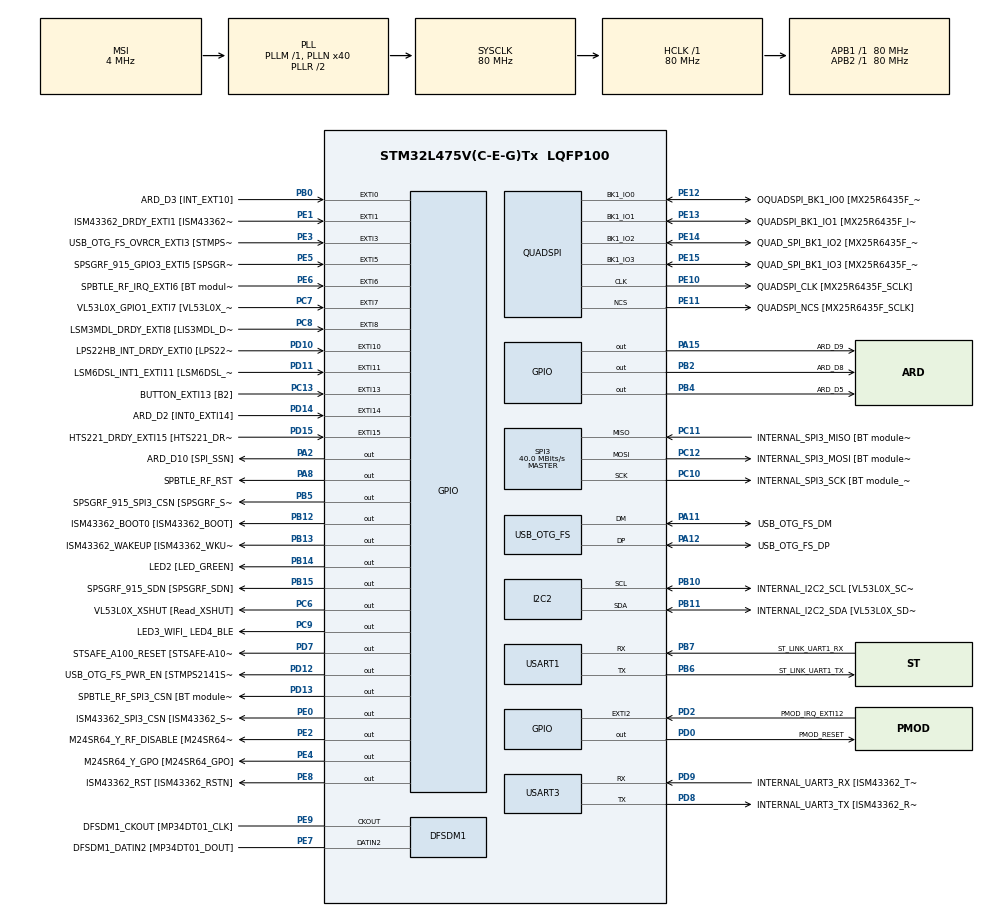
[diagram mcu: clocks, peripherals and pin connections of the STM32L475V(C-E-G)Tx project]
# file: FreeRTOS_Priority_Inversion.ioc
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FREERTOS.Mutexes01=resourceMutex,Dynamic,NULL,Available
FREERTOS.Tasks01=defaultTask,24,128,StartDefaultTask,Default,NULL,Dynamic,NULL,NULL;LowPriorityTask,8,128,StartTask02,Default,NULL,Dynamic,NULL,NULL;MediumPriorityT,24,128,StartTask03,Default,NULL,Dynamic,NULL,NULL;HighPriorityTas,40,128,StartTask04,Default,NULL,Dynamic,NULL,NULL
I2C2.Timing=0x10D19CE4
Mcu.Family=STM32L4
Mcu.Name=STM32L475V(C-E-G)Tx
Mcu.Package=LQFP100
NVIC.EXTI15_10_IRQn=true\:5\:0\:false\:false\:true\:true\:true\:true\:true
NVIC.EXTI9_5_IRQn=true\:5\:0\:false\:false\:true\:true\:true\:true\:true
NVIC.PriorityGroup=NVIC_PRIORITYGROUP_4
PA0.GPIO_Label=ARD_D1 [UART4_TX]
PA0.Signal=UART4_TX
PA1.GPIO_Label=ARD_D0 [UART4_RX]
PA1.Signal=UART4_RX
PA10.GPIO_Label=USB_OTG_FS_ID
PA10.Signal=USB_OTG_FS_ID
PA11.GPIO_Label=USB_OTG_FS_DM
PA11.Mode=Device_Only
PA11.Signal=USB_OTG_FS_DM
PA12.GPIO_Label=USB_OTG_FS_DP
PA12.Mode=Device_Only
PA12.Signal=USB_OTG_FS_DP
PA13\ (JTMS-SWDIO).GPIO_Label=SYS_JTMS_SWDIO
PA13\ (JTMS-SWDIO).Mode=Serial_Wire
PA13\ (JTMS-SWDIO).Signal=SYS_JTMS-SWDIO
PA14\ (JTCK-SWCLK).GPIO_Label=SYS_JTCK_SWCLK
PA14\ (JTCK-SWCLK).Mode=Serial_Wire
PA14\ (JTCK-SWCLK).Signal=SYS_JTCK-SWCLK
PA15\ (JTDI).GPIO_Label=ARD_D9
PA15\ (JTDI).Signal=GPIO_Output
PA2.GPIO_Label=ARD_D10 [SPI_SSN]
PA2.Signal=GPIO_Output
PA3.GPIO_Label=ARD_D4
PA3.Signal=S_TIM2_CH4
PA4.GPIO_Label=ARD_D7
PA4.Signal=ADCx_IN9
PA5.GPIO_Label=ARD_D13 [SPI1_SCK]
PA5.Signal=SPI1_SCK
PA6.GPIO_Label=ARD_D12 [SPI1_MISO]
PA6.Signal=SPI1_MISO
PA7.GPIO_Label=ARD_D11 [SPI1_MOSI]
PA7.Signal=SPI1_MOSI
PA8.GPIO_Label=SPBTLE_RF_RST
PA8.Signal=GPIO_Output
PA9.GPIO_Label=USB_OTG_FS_VBUS [STMPS2141STR_OUT]
PA9.Signal=USB_OTG_FS_VBUS
PB0.GPIO_Label=ARD_D3 [INT_EXT10]
PB0.Signal=GPXTI0
PB1.GPIO_Label=ARD_D6 [ADC1_IN6]
PB1.Signal=ADCx_IN16
PB10.GPIO_Label=INTERNAL_I2C2_SCL [VL53L0X_SCL]
PB10.GPIO_Pu=GPIO_PULLUP
PB10.Mode=I2C
PB10.Signal=I2C2_SCL
PB11.GPIO_Label=INTERNAL_I2C2_SDA [VL53L0X_SDA]
PB11.GPIO_Pu=GPIO_PULLUP
PB11.Mode=I2C
PB11.Signal=I2C2_SDA
PB12.GPIO_Label=ISM43362_BOOT0 [ISM43362_BOOT]
PB12.Signal=GPIO_Output
PB13.GPIO_Label=ISM43362_WAKEUP [ISM43362_WKUP]
PB13.Signal=GPIO_Output
PB14.GPIO_Label=LED2 [LED_GREEN]
PB14.Signal=GPIO_Output
PB15.GPIO_Label=SPSGRF_915_SDN [SPSGRF_SDN]
PB15.Signal=GPIO_Output
PB2.GPIO_Label=ARD_D8
PB2.Signal=GPIO_Output
PB3\ (JTDO-TRACESWO).GPIO_Label=SYS_JTD0_SWO
PB3\ (JTDO-TRACESWO).Signal=SYS_JTDO-SWO
PB4\ (NJTRST).GPIO_Label=ARD_D5
PB4\ (NJTRST).Signal=GPIO_Output
PB5.GPIO_Label=SPSGRF_915_SPI3_CSN [SPSGRF_SPI_CS]
PB5.PinState=GPIO_PIN_SET
PB5.Signal=GPIO_Output
PB6.GPIO_Label=ST_LINK_UART1_TX
PB6.Mode=Asynchronous
PB6.Signal=USART1_TX
PB7.GPIO_Label=ST_LINK_UART1_RX
PB7.Mode=Asynchronous
PB7.Signal=USART1_RX
PB8.GPIO_Label=ARD_D15 [I2C1_SCL]
PB8.Signal=I2C1_SCL
PB9.GPIO_Label=ARD_D14 [I2C1_SDA]
PB9.Signal=I2C1_SDA
PC0.GPIO_Label=ARD_A5 [ADC]
PC0.Signal=ADCx_IN1
PC1.GPIO_Label=ARD_A4 [ADC]
PC1.Signal=ADCx_IN2
PC10.GPIO_Label=INTERNAL_SPI3_SCK [BT module_SPI_SCLK] [ISM43362_SCK]
PC10.Mode=Full_Duplex_Master
PC10.Signal=SPI3_SCK
PC11.GPIO_Label=INTERNAL_SPI3_MISO [BT module_SPI_MISO] [ISM43362_MISO]
PC11.Mode=Full_Duplex_Master
PC11.Signal=SPI3_MISO
PC12.GPIO_Label=INTERNAL_SPI3_MOSI [BT module_SPI_MOSI] [ISM43362_MOSI]
PC12.Mode=Full_Duplex_Master
PC12.Signal=SPI3_MOSI
PC13.GPIO_Label=BUTTON_EXTI13 [B2]
PC13.GPIO_ModeDefaultEXTI=GPIO_MODE_IT_FALLING
PC13.Signal=GPXTI13
PC14-OSC32_IN\ (PC14).Mode=LSE-External-Oscillator
PC14-OSC32_IN\ (PC14).Signal=RCC_OSC32_IN
PC15-OSC32_OUT\ (PC15).Mode=LSE-External-Oscillator
PC15-OSC32_OUT\ (PC15).Signal=RCC_OSC32_OUT
PC2.GPIO_Label=ARD_A3 [ADC]
PC2.Signal=ADCx_IN3
PC3.GPIO_Label=ARD_A2 [ADC]
PC3.Signal=ADCx_IN4
PC4.GPIO_Label=ARD_A1 [ADC]
PC4.Signal=ADCx_IN13
PC5.GPIO_Label=ARD_A0 [ADC]
PC5.Signal=ADCx_IN14
PC6.GPIO_Label=VL53L0X_XSHUT [Read_XSHUT]
PC6.Signal=GPIO_Output
PC7.GPIO_Label=VL53L0X_GPIO1_EXTI7 [VL53L0X_GPIO1]
PC7.Signal=GPXTI7
PC8.GPIO_Label=LSM3MDL_DRDY_EXTI8 [LIS3MDL_DRDY]
PC8.Signal=GPXTI8
PC9.GPIO_Label=LED3_WIFI_ LED4_BLE
PC9.Signal=GPIO_Output
PD0.GPIO_Label=PMOD_RESET
PD0.Signal=GPIO_Output
PD1.GPIO_Label=PMOD_SPI2_SCK
PD1.Signal=SPI2_SCK
PD10.GPIO_Label=LPS22HB_INT_DRDY_EXTI0 [LPS22HB_INT_DRDY] 
PD10.Signal=GPXTI10
PD11.GPIO_Label=LSM6DSL_INT1_EXTI11 [LSM6DSL_INT1]
PD11.Signal=GPXTI11
PD12.GPIO_Label=USB_OTG_FS_PWR_EN [STMPS2141STR_EN]
PD12.Signal=GPIO_Output
PD13.GPIO_Label=SPBTLE_RF_SPI3_CSN [BT module_SPI_CS]
PD13.PinState=GPIO_PIN_SET
PD13.Signal=GPIO_Output
PD14.GPIO_Label=ARD_D2 [INT0_EXTI14]
PD14.Signal=GPXTI14
PD15.GPIO_Label=HTS221_DRDY_EXTI15 [HTS221_DRDY]
PD15.Signal=GPXTI15
PD2.GPIO_Label=PMOD_IRQ_EXTI12
PD2.Signal=GPXTI2
PD3.GPIO_Label=PMOD_UART2_CTS
PD3.Signal=USART2_CTS
PD4.GPIO_Label=PMOD_UART2_RTS
PD4.Signal=USART2_RTS
PD5.GPIO_Label=PMOD_UART2_TX
PD5.Signal=USART2_TX
PD6.GPIO_Label=PMOD_UART2_RX
PD6.Signal=USART2_RX
PD7.GPIO_Label=STSAFE_A100_RESET [STSAFE-A100_RESET]
PD7.Signal=GPIO_Output
PD8.GPIO_Label=INTERNAL_UART3_TX [ISM43362_RX]
PD8.Mode=Asynchronous
PD8.Signal=USART3_TX
PD9.GPIO_Label=INTERNAL_UART3_RX [ISM43362_TX]
PD9.Mode=Asynchronous
PD9.Signal=USART3_RX
PE0.GPIO_Label=ISM43362_SPI3_CSN [ISM43362_SSN]
PE0.PinState=GPIO_PIN_SET
PE0.Signal=GPIO_Output
PE1.GPIO_Label=ISM43362_DRDY_EXTI1 [ISM43362_DATARDY]
PE1.Signal=GPXTI1
PE10.GPIO_Label=QUADSPI_CLK [MX25R6435F_SCLK]
PE10.Mode=Single Bank
PE10.Signal=QUADSPI_CLK
PE11.GPIO_Label=QUADSPI_NCS [MX25R6435F_SCLK]
PE11.Mode=Single Bank
PE11.Signal=QUADSPI_NCS
PE12.GPIO_Label=OQUADSPI_BK1_IO0 [MX25R6435F_IO0]
PE12.Mode=Single Bank
PE12.Signal=QUADSPI_BK1_IO0
PE13.GPIO_Label=QUADSPI_BK1_IO1 [MX25R6435F_IO1]
PE13.Mode=Single Bank
PE13.Signal=QUADSPI_BK1_IO1
PE14.GPIO_Label=QUAD_SPI_BK1_IO2 [MX25R6435F_IO2]
PE14.Mode=Single Bank
PE14.Signal=QUADSPI_BK1_IO2
PE15.GPIO_Label=QUAD_SPI_BK1_IO3 [MX25R6435F_IO3]
PE15.Mode=Single Bank
PE15.Signal=QUADSPI_BK1_IO3
PE2.GPIO_Label=M24SR64_Y_RF_DISABLE [M24SR64_RFDIS]
PE2.Signal=GPIO_Output
PE3.GPIO_Label=USB_OTG_FS_OVRCR_EXTI3 [STMPS2141STR_FAULT]
PE3.Signal=GPXTI3
PE4.GPIO_Label=M24SR64_Y_GPO [M24SR64_GPO]
PE4.Signal=GPIO_Output
PE5.GPIO_Label=SPSGRF_915_GPIO3_EXTI5 [SPSGRF_GPIO_3]
PE5.Signal=GPXTI5
PE6.GPIO_Label=SPBTLE_RF_IRQ_EXTI6 [BT module_SPI_IRQ]
PE6.Signal=GPXTI6
PE7.GPIO_Label=DFSDM1_DATIN2 [MP34DT01_DOUT]
PE7.Signal=S_DATAIN2DFSDM1
PE8.GPIO_Label=ISM43362_RST [ISM43362_RSTN]
PE8.Signal=GPIO_Output
PE9.GPIO_Label=DFSDM1_CKOUT [MP34DT01_CLK]
PE9.Signal=S_CKOUTDFSDM1
ProjectManager.HeapSize=0x200
ProjectManager.StackSize=0x400
ProjectManager.TargetToolchain=STM32CubeIDE
QUADSPI.ClockPrescaler=2
QUADSPI.FifoThreshold=4
QUADSPI.FlashSize=23
QUADSPI.SampleShifting=QSPI_SAMPLE_SHIFTING_HALFCYCLE
RCC.ADCFreq_Value=48000000
RCC.AHBFreq_Value=80000000
RCC.APB1Freq_Value=80000000
RCC.APB1TimFreq_Value=80000000
RCC.APB2Freq_Value=80000000
RCC.APB2TimFreq_Value=80000000
RCC.CortexFreq_Value=80000000
RCC.HCLKFreq_Value=80000000
RCC.HSE_VALUE=8000000
RCC.HSI_VALUE=16000000
RCC.MSI_VALUE=4000000
RCC.PLLN=40
RCC.PLLSAI1N=24
RCC.SYSCLKFreq_VALUE=80000000
RCC.SYSCLKSource=RCC_SYSCLKSOURCE_PLLCLK
RCC.USBFreq_Value=48000000
RCC.VCOOutputFreq_Value=160000000
SH.ADCx_IN1.0=ADC1_IN1
SH.ADCx_IN13.0=ADC1_IN13
SH.ADCx_IN14.0=ADC1_IN14
SH.ADCx_IN16.0=ADC1_IN16
SH.ADCx_IN2.0=ADC1_IN2
SH.ADCx_IN3.0=ADC1_IN3
SH.ADCx_IN4.0=ADC1_IN4
SH.ADCx_IN9.0=ADC1_IN9
SH.S_CKOUTDFSDM1.0=DFSDM1_CKOUT,CKOUT
SH.S_CKOUTDFSDM1.1=DFSDM1_CKOUT,PDM_SPI_Input_from_ch12_and_Internal_Clock
SH.S_DATAIN2DFSDM1.0=DFSDM1_DATIN2,PDM_SPI_Input_from_ch12_and_Internal_Clock
SH.S_TIM2_CH4.0=TIM2_CH4
SPI3.CalculateBaudRate=40.0 MBits/s
SPI3.Direction=SPI_DIRECTION_2LINES
SPI3.Mode=SPI_MODE_MASTER
SPI3.VirtualType=VM_MASTER
USART1.VirtualMode-Asynchronous=VM_ASYNC
USART3.VirtualMode-Asynchronous=VM_ASYNC
USB_OTG_FS.VirtualMode=Device_Only
VP_FREERTOS_VS_CMSIS_V2.Mode=CMSIS_V2
board=B-L475E-IOT01A2

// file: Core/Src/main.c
/* USER CODE BEGIN Header */
/**
  ******************************************************************************
  * @file           : main.c
  * @brief          : Main program body
  ******************************************************************************
  * @attention
  *
  * Copyright (c) 2026 STMicroelectronics.
  * All rights reserved.
  *
  * This software is licensed under terms that can be found in the LICENSE file
  * in the root directory of this software component.
  * If no LICENSE file comes with this software, it is provided AS-IS.
  *
  ******************************************************************************
  */
/* USER CODE END Header */
#include "main.h"
#include "cmsis_os.h"

/* USER CODE BEGIN PD */

/* 0 = run Mutex experiment, 1 = run Binary Semaphore experiment */
#define RUN_SEMAPHORE_EXPERIMENT 1

/* USER CODE END PD */

DFSDM_Channel_HandleTypeDef hdfsdm1_channel1;

I2C_HandleTypeDef hi2c2;

QSPI_HandleTypeDef hqspi;

SPI_HandleTypeDef hspi3;

UART_HandleTypeDef huart1;
UART_HandleTypeDef huart3;

PCD_HandleTypeDef hpcd_USB_OTG_FS;

/* Definitions for defaultTask */
osThreadId_t defaultTaskHandle;
const osThreadAttr_t defaultTask_attributes = {
  .name = "defaultTask",
  .stack_size = 128 * 4,
  .priority = (osPriority_t) osPriorityNormal,
};
/* Definitions for LowPriorityTask */
osThreadId_t LowPriorityTaskHandle;
const osThreadAttr_t LowPriorityTask_attributes = {
  .name = "LowPriorityTask",
  .stack_size = 128 * 4,
  .priority = (osPriority_t) osPriorityLow,
};
/* Definitions for MediumPriorityT */
osThreadId_t MediumPriorityTHandle;
const osThreadAttr_t MediumPriorityT_attributes = {
  .name = "MediumPriorityT",
  .stack_size = 128 * 4,
  .priority = (osPriority_t) osPriorityNormal,
};
/* Definitions for HighPriorityTas */
osThreadId_t HighPriorityTasHandle;
const osThreadAttr_t HighPriorityTas_attributes = {
  .name = "HighPriorityTas",
  .stack_size = 128 * 4,
  .priority = (osPriority_t) osPriorityHigh,
};
/* Definitions for resourceMutex */
osMutexId_t resourceMutexHandle;
const osMutexAttr_t resourceMutex_attributes = {
  .name = "resourceMutex"
};
/* Definitions for the separate Binary Semaphore experiment */
osSemaphoreId_t resourceSemaphoreHandle;
const osSemaphoreAttr_t resourceSemaphore_attributes = {
  .name = "resourceSemaphore"
};

/* Semaphore experiment task handles and attributes */
osThreadId_t SemaphoreLowTaskHandle;
const osThreadAttr_t SemaphoreLowTask_attributes = {
  .name = "SemLowTask",
  .stack_size = 128 * 4,
  .priority = (osPriority_t) osPriorityLow,
};
osThreadId_t SemaphoreMediumTaskHandle;
const osThreadAttr_t SemaphoreMediumTask_attributes = {
  .name = "SemMediumTask",
  .stack_size = 128 * 4,
  .priority = (osPriority_t) osPriorityNormal,
};
osThreadId_t SemaphoreHighTaskHandle;
const osThreadAttr_t SemaphoreHighTask_attributes = {
  .name = "SemHighTask",
  .stack_size = 128 * 4,
  .priority = (osPriority_t) osPriorityHigh,
};
/* USER CODE BEGIN PV */

volatile uint32_t lowWorkCounter = 0;
volatile uint32_t mediumWorkCounter = 0;
volatile uint32_t highWaitTime = 0;
volatile uint32_t highAcquiredCount = 0;
volatile uint32_t lowHasMutex = 0;

/* Variables for the Binary Semaphore experiment */
volatile uint32_t semaphoreLowWorkCounter = 0;
volatile uint32_t semaphoreMediumWorkCounter = 0;
volatile uint32_t semaphoreHighWaitTime = 0;
volatile uint32_t semaphoreHighAcquiredCount = 0;
volatile uint32_t semaphoreLowHasSemaphore = 0;

/* USER CODE END PV */

void SystemClock_Config(void);
static void MX_GPIO_Init(void);
static void MX_DFSDM1_Init(void);
static void MX_I2C2_Init(void);
static void MX_QUADSPI_Init(void);
static void MX_SPI3_Init(void);
static void MX_USART1_UART_Init(void);
static void MX_USART3_UART_Init(void);
static void MX_USB_OTG_FS_PCD_Init(void);
void StartDefaultTask(void *argument);
void StartTask02(void *argument);
void StartTask03(void *argument);
void StartTask04(void *argument);
void StartSemaphoreLowTask(void *argument);
void StartSemaphoreMediumTask(void *argument);
void StartSemaphoreHighTask(void *argument);

int main(void)
{

  /* MCU Configuration--------------------------------------------------------*/

  /* Reset of all peripherals, Initializes the Flash interface and the Systick. */
  HAL_Init();

  /* Configure the system clock */
  SystemClock_Config();

  /* Initialize all configured peripherals */
  MX_GPIO_Init();
  MX_DFSDM1_Init();
  MX_I2C2_Init();
  MX_QUADSPI_Init();
  MX_SPI3_Init();
  MX_USART1_UART_Init();
  MX_USART3_UART_Init();
  MX_USB_OTG_FS_PCD_Init();

  /* Init scheduler */
  osKernelInitialize();
  /* Create the mutex(es) */
  /* creation of resourceMutex */
  resourceMutexHandle = osMutexNew(&resourceMutex_attributes);

  /* USER CODE BEGIN RTOS_SEMAPHORES */
  /* Binary semaphore for the separate priority-inversion experiment */
  resourceSemaphoreHandle = osSemaphoreNew(1, 1, &resourceSemaphore_attributes);
  /* USER CODE END RTOS_SEMAPHORES */

  /* Create the thread(s) */
  /* creation of defaultTask */
  defaultTaskHandle = osThreadNew(StartDefaultTask, NULL, &defaultTask_attributes);

#if RUN_SEMAPHORE_EXPERIMENT == 0
  /* Mutex experiment */
  LowPriorityTaskHandle = osThreadNew(StartTask02, NULL, &LowPriorityTask_attributes);
  MediumPriorityTHandle = osThreadNew(StartTask03, NULL, &MediumPriorityT_attributes);
  HighPriorityTasHandle = osThreadNew(StartTask04, NULL, &HighPriorityTas_attributes);
#else
  /* Binary Semaphore experiment */
  SemaphoreLowTaskHandle = osThreadNew(StartSemaphoreLowTask, NULL, &SemaphoreLowTask_attributes);
  SemaphoreMediumTaskHandle = osThreadNew(StartSemaphoreMediumTask, NULL, &SemaphoreMediumTask_attributes);
  SemaphoreHighTaskHandle = osThreadNew(StartSemaphoreHighTask, NULL, &SemaphoreHighTask_attributes);
#endif

  /* Start scheduler */
  osKernelStart();

  /* We should never get here as control is now taken by the scheduler */

  /* Infinite loop */
  while (1)
  {

  }
}

void SystemClock_Config(void)
{
  RCC_OscInitTypeDef RCC_OscInitStruct = {0};
  RCC_ClkInitTypeDef RCC_ClkInitStruct = {0};

  /** Configure the main internal regulator output voltage
  */
  if (HAL_PWREx_ControlVoltageScaling(PWR_REGULATOR_VOLTAGE_SCALE1) != HAL_OK)
  {
    Error_Handler();
  }

  /** Configure LSE Drive Capability
  */
  HAL_PWR_EnableBkUpAccess();
  __HAL_RCC_LSEDRIVE_CONFIG(RCC_LSEDRIVE_LOW);

  /** Initializes the RCC Oscillators according to the specified parameters
  * in the RCC_OscInitTypeDef structure.
  */
  RCC_OscInitStruct.OscillatorType = RCC_OSCILLATORTYPE_LSE|RCC_OSCILLATORTYPE_MSI;
  RCC_OscInitStruct.LSEState = RCC_LSE_ON;
  RCC_OscInitStruct.MSIState = RCC_MSI_ON;
  RCC_OscInitStruct.MSICalibrationValue = 0;
  RCC_OscInitStruct.MSIClockRange = RCC_MSIRANGE_6;
  RCC_OscInitStruct.PLL.PLLState = RCC_PLL_ON;
  RCC_OscInitStruct.PLL.PLLSource = RCC_PLLSOURCE_MSI;
  RCC_OscInitStruct.PLL.PLLM = 1;
  RCC_OscInitStruct.PLL.PLLN = 40;
  RCC_OscInitStruct.PLL.PLLP = RCC_PLLP_DIV7;
  RCC_OscInitStruct.PLL.PLLQ = RCC_PLLQ_DIV2;
  RCC_OscInitStruct.PLL.PLLR = RCC_PLLR_DIV2;
  if (HAL_RCC_OscConfig(&RCC_OscInitStruct) != HAL_OK)
  {
    Error_Handler();
  }

  /** Initializes the CPU, AHB and APB buses clocks
  */
  RCC_ClkInitStruct.ClockType = RCC_CLOCKTYPE_HCLK|RCC_CLOCKTYPE_SYSCLK
                              |RCC_CLOCKTYPE_PCLK1|RCC_CLOCKTYPE_PCLK2;
  RCC_ClkInitStruct.SYSCLKSource = RCC_SYSCLKSOURCE_PLLCLK;
  RCC_ClkInitStruct.AHBCLKDivider = RCC_SYSCLK_DIV1;
  RCC_ClkInitStruct.APB1CLKDivider = RCC_HCLK_DIV1;
  RCC_ClkInitStruct.APB2CLKDivider = RCC_HCLK_DIV1;

  if (HAL_RCC_ClockConfig(&RCC_ClkInitStruct, FLASH_LATENCY_4) != HAL_OK)
  {
    Error_Handler();
  }

  /** Enable MSI Auto calibration
  */
  HAL_RCCEx_EnableMSIPLLMode();
}

static void MX_DFSDM1_Init(void)
{

  hdfsdm1_channel1.Instance = DFSDM1_Channel1;
  hdfsdm1_channel1.Init.OutputClock.Activation = ENABLE;
  hdfsdm1_channel1.Init.OutputClock.Selection = DFSDM_CHANNEL_OUTPUT_CLOCK_SYSTEM;
  hdfsdm1_channel1.Init.OutputClock.Divider = 2;
  hdfsdm1_channel1.Init.Input.Multiplexer = DFSDM_CHANNEL_EXTERNAL_INPUTS;
  hdfsdm1_channel1.Init.Input.DataPacking = DFSDM_CHANNEL_STANDARD_MODE;
  hdfsdm1_channel1.Init.Input.Pins = DFSDM_CHANNEL_FOLLOWING_CHANNEL_PINS;
  hdfsdm1_channel1.Init.SerialInterface.Type = DFSDM_CHANNEL_SPI_RISING;
  hdfsdm1_channel1.Init.SerialInterface.SpiClock = DFSDM_CHANNEL_SPI_CLOCK_INTERNAL;
  hdfsdm1_channel1.Init.Awd.FilterOrder = DFSDM_CHANNEL_FASTSINC_ORDER;
  hdfsdm1_channel1.Init.Awd.Oversampling = 1;
  hdfsdm1_channel1.Init.Offset = 0;
  hdfsdm1_channel1.Init.RightBitShift = 0x00;
  if (HAL_DFSDM_ChannelInit(&hdfsdm1_channel1) != HAL_OK)
  {
    Error_Handler();
  }

}

static void MX_I2C2_Init(void)
{

  hi2c2.Instance = I2C2;
  hi2c2.Init.Timing = 0x10D19CE4;
  hi2c2.Init.OwnAddress1 = 0;
  hi2c2.Init.AddressingMode = I2C_ADDRESSINGMODE_7BIT;
  hi2c2.Init.DualAddressMode = I2C_DUALADDRESS_DISABLE;
  hi2c2.Init.OwnAddress2 = 0;
  hi2c2.Init.OwnAddress2Masks = I2C_OA2_NOMASK;
  hi2c2.Init.GeneralCallMode = I2C_GENERALCALL_DISABLE;
  hi2c2.Init.NoStretchMode = I2C_NOSTRETCH_DISABLE;
  if (HAL_I2C_Init(&hi2c2) != HAL_OK)
  {
    Error_Handler();
  }

  /** Configure Analogue filter
  */
  if (HAL_I2CEx_ConfigAnalogFilter(&hi2c2, I2C_ANALOGFILTER_ENABLE) != HAL_OK)
  {
    Error_Handler();
  }

  /** Configure Digital filter
  */
  if (HAL_I2CEx_ConfigDigitalFilter(&hi2c2, 0) != HAL_OK)
  {
    Error_Handler();
  }

}

static void MX_QUADSPI_Init(void)
{

  /* QUADSPI parameter configuration*/
  hqspi.Instance = QUADSPI;
  hqspi.Init.ClockPrescaler = 2;
  hqspi.Init.FifoThreshold = 4;
  hqspi.Init.SampleShifting = QSPI_SAMPLE_SHIFTING_HALFCYCLE;
  hqspi.Init.FlashSize = 23;
  hqspi.Init.ChipSelectHighTime = QSPI_CS_HIGH_TIME_1_CYCLE;
  hqspi.Init.ClockMode = QSPI_CLOCK_MODE_0;
  if (HAL_QSPI_Init(&hqspi) != HAL_OK)
  {
    Error_Handler();
  }

}

static void MX_SPI3_Init(void)
{

  /* SPI3 parameter configuration*/
  hspi3.Instance = SPI3;
  hspi3.Init.Mode = SPI_MODE_MASTER;
  hspi3.Init.Direction = SPI_DIRECTION_2LINES;
  hspi3.Init.DataSize = SPI_DATASIZE_4BIT;
  hspi3.Init.CLKPolarity = SPI_POLARITY_LOW;
  hspi3.Init.CLKPhase = SPI_PHASE_1EDGE;
  hspi3.Init.NSS = SPI_NSS_SOFT;
  hspi3.Init.BaudRatePrescaler = SPI_BAUDRATEPRESCALER_2;
  hspi3.Init.FirstBit = SPI_FIRSTBIT_MSB;
  hspi3.Init.TIMode = SPI_TIMODE_DISABLE;
  hspi3.Init.CRCCalculation = SPI_CRCCALCULATION_DISABLE;
  hspi3.Init.CRCPolynomial = 7;
  hspi3.Init.CRCLength = SPI_CRC_LENGTH_DATASIZE;
  hspi3.Init.NSSPMode = SPI_NSS_PULSE_ENABLE;
  if (HAL_SPI_Init(&hspi3) != HAL_OK)
  {
    Error_Handler();
  }

}

static void MX_USART1_UART_Init(void)
{

  huart1.Instance = USART1;
  huart1.Init.BaudRate = 115200;
  huart1.Init.WordLength = UART_WORDLENGTH_8B;
  huart1.Init.StopBits = UART_STOPBITS_1;
  huart1.Init.Parity = UART_PARITY_NONE;
  huart1.Init.Mode = UART_MODE_TX_RX;
  huart1.Init.HwFlowCtl = UART_HWCONTROL_NONE;
  huart1.Init.OverSampling = UART_OVERSAMPLING_16;
  huart1.Init.OneBitSampling = UART_ONE_BIT_SAMPLE_DISABLE;
  huart1.AdvancedInit.AdvFeatureInit = UART_ADVFEATURE_NO_INIT;
  if (HAL_UART_Init(&huart1) != HAL_OK)
  {
    Error_Handler();
  }

}

static void MX_USART3_UART_Init(void)
{

  huart3.Instance = USART3;
  huart3.Init.BaudRate = 115200;
  huart3.Init.WordLength = UART_WORDLENGTH_8B;
  huart3.Init.StopBits = UART_STOPBITS_1;
  huart3.Init.Parity = UART_PARITY_NONE;
  huart3.Init.Mode = UART_MODE_TX_RX;
  huart3.Init.HwFlowCtl = UART_HWCONTROL_NONE;
  huart3.Init.OverSampling = UART_OVERSAMPLING_16;
  huart3.Init.OneBitSampling = UART_ONE_BIT_SAMPLE_DISABLE;
  huart3.AdvancedInit.AdvFeatureInit = UART_ADVFEATURE_NO_INIT;
  if (HAL_UART_Init(&huart3) != HAL_OK)
  {
    Error_Handler();
  }

}

static void MX_USB_OTG_FS_PCD_Init(void)
{

  hpcd_USB_OTG_FS.Instance = USB_OTG_FS;
  hpcd_USB_OTG_FS.Init.dev_endpoints = 6;
  hpcd_USB_OTG_FS.Init.speed = PCD_SPEED_FULL;
  hpcd_USB_OTG_FS.Init.phy_itface = PCD_PHY_EMBEDDED;
  hpcd_USB_OTG_FS.Init.Sof_enable = DISABLE;
  hpcd_USB_OTG_FS.Init.low_power_enable = DISABLE;
  hpcd_USB_OTG_FS.Init.lpm_enable = DISABLE;
  hpcd_USB_OTG_FS.Init.battery_charging_enable = DISABLE;
  hpcd_USB_OTG_FS.Init.use_dedicated_ep1 = DISABLE;
  hpcd_USB_OTG_FS.Init.vbus_sensing_enable = DISABLE;
  if (HAL_PCD_Init(&hpcd_USB_OTG_FS) != HAL_OK)
  {
    Error_Handler();
  }

}

static void MX_GPIO_Init(void)
{
  GPIO_InitTypeDef GPIO_InitStruct = {0};

  /* GPIO Ports Clock Enable */
  __HAL_RCC_GPIOE_CLK_ENABLE();
  __HAL_RCC_GPIOC_CLK_ENABLE();
  __HAL_RCC_GPIOA_CLK_ENABLE();
  __HAL_RCC_GPIOB_CLK_ENABLE();
  __HAL_RCC_GPIOD_CLK_ENABLE();

  /*Configure GPIO pin Output Level */
  HAL_GPIO_WritePin(GPIOE, M24SR64_Y_RF_DISABLE_Pin|M24SR64_Y_GPO_Pin|ISM43362_RST_Pin, GPIO_PIN_RESET);

  /*Configure GPIO pin Output Level */
  HAL_GPIO_WritePin(GPIOA, ARD_D10_Pin|SPBTLE_RF_RST_Pin|ARD_D9_Pin, GPIO_PIN_RESET);

  /*Configure GPIO pin Output Level */
  HAL_GPIO_WritePin(GPIOB, ARD_D8_Pin|ISM43362_BOOT0_Pin|ISM43362_WAKEUP_Pin|LED2_Pin
                          |SPSGRF_915_SDN_Pin|ARD_D5_Pin, GPIO_PIN_RESET);

  /*Configure GPIO pin Output Level */
  HAL_GPIO_WritePin(GPIOD, USB_OTG_FS_PWR_EN_Pin|PMOD_RESET_Pin|STSAFE_A100_RESET_Pin, GPIO_PIN_RESET);

  /*Configure GPIO pin Output Level */
  HAL_GPIO_WritePin(SPBTLE_RF_SPI3_CSN_GPIO_Port, SPBTLE_RF_SPI3_CSN_Pin, GPIO_PIN_SET);

  /*Configure GPIO pin Output Level */
  HAL_GPIO_WritePin(GPIOC, VL53L0X_XSHUT_Pin|LED3_WIFI__LED4_BLE_Pin, GPIO_PIN_RESET);

  /*Configure GPIO pin Output Level */
  HAL_GPIO_WritePin(SPSGRF_915_SPI3_CSN_GPIO_Port, SPSGRF_915_SPI3_CSN_Pin, GPIO_PIN_SET);

  /*Configure GPIO pin Output Level */
  HAL_GPIO_WritePin(ISM43362_SPI3_CSN_GPIO_Port, ISM43362_SPI3_CSN_Pin, GPIO_PIN_SET);

  /*Configure GPIO pins : M24SR64_Y_RF_DISABLE_Pin M24SR64_Y_GPO_Pin ISM43362_RST_Pin ISM43362_SPI3_CSN_Pin */
  GPIO_InitStruct.Pin = M24SR64_Y_RF_DISABLE_Pin|M24SR64_Y_GPO_Pin|ISM43362_RST_Pin|ISM43362_SPI3_CSN_Pin;
  GPIO_InitStruct.Mode = GPIO_MODE_OUTPUT_PP;
  GPIO_InitStruct.Pull = GPIO_NOPULL;
  GPIO_InitStruct.Speed = GPIO_SPEED_FREQ_LOW;
  HAL_GPIO_Init(GPIOE, &GPIO_InitStruct);

  /*Configure GPIO pins : USB_OTG_FS_OVRCR_EXTI3_Pin SPSGRF_915_GPIO3_EXTI5_Pin SPBTLE_RF_IRQ_EXTI6_Pin ISM43362_DRDY_EXTI1_Pin */
  GPIO_InitStruct.Pin = USB_OTG_FS_OVRCR_EXTI3_Pin|SPSGRF_915_GPIO3_EXTI5_Pin|SPBTLE_RF_IRQ_EXTI6_Pin|ISM43362_DRDY_EXTI1_Pin;
  GPIO_InitStruct.Mode = GPIO_MODE_IT_RISING;
  GPIO_InitStruct.Pull = GPIO_NOPULL;
  HAL_GPIO_Init(GPIOE, &GPIO_InitStruct);

  /*Configure GPIO pin : BUTTON_EXTI13_Pin */
  GPIO_InitStruct.Pin = BUTTON_EXTI13_Pin;
  GPIO_InitStruct.Mode = GPIO_MODE_IT_FALLING;
  GPIO_InitStruct.Pull = GPIO_NOPULL;
  HAL_GPIO_Init(BUTTON_EXTI13_GPIO_Port, &GPIO_InitStruct);

  /*Configure GPIO pins : ARD_A5_Pin ARD_A4_Pin ARD_A3_Pin ARD_A2_Pin
                           ARD_A1_Pin ARD_A0_Pin */
  GPIO_InitStruct.Pin = ARD_A5_Pin|ARD_A4_Pin|ARD_A3_Pin|ARD_A2_Pin
                          |ARD_A1_Pin|ARD_A0_Pin;
  GPIO_InitStruct.Mode = GPIO_MODE_ANALOG_ADC_CONTROL;
  GPIO_InitStruct.Pull = GPIO_NOPULL;
  HAL_GPIO_Init(GPIOC, &GPIO_InitStruct);

  /*Configure GPIO pins : ARD_D1_Pin ARD_D0_Pin */
  GPIO_InitStruct.Pin = ARD_D1_Pin|ARD_D0_Pin;
  GPIO_InitStruct.Mode = GPIO_MODE_AF_PP;
  GPIO_InitStruct.Pull = GPIO_NOPULL;
  GPIO_InitStruct.Speed = GPIO_SPEED_FREQ_VERY_HIGH;
  GPIO_InitStruct.Alternate = GPIO_AF8_UART4;
  HAL_GPIO_Init(GPIOA, &GPIO_InitStruct);

  /*Configure GPIO pins : ARD_D10_Pin SPBTLE_RF_RST_Pin ARD_D9_Pin */
  GPIO_InitStruct.Pin = ARD_D10_Pin|SPBTLE_RF_RST_Pin|ARD_D9_Pin;
  GPIO_InitStruct.Mode = GPIO_MODE_OUTPUT_PP;
  GPIO_InitStruct.Pull = GPIO_NOPULL;
  GPIO_InitStruct.Speed = GPIO_SPEED_FREQ_LOW;
  HAL_GPIO_Init(GPIOA, &GPIO_InitStruct);

  /*Configure GPIO pin : ARD_D4_Pin */
  GPIO_InitStruct.Pin = ARD_D4_Pin;
  GPIO_InitStruct.Mode = GPIO_MODE_AF_PP;
  GPIO_InitStruct.Pull = GPIO_NOPULL;
  GPIO_InitStruct.Speed = GPIO_SPEED_FREQ_LOW;
  GPIO_InitStruct.Alternate = GPIO_AF1_TIM2;
  HAL_GPIO_Init(ARD_D4_GPIO_Port, &GPIO_InitStruct);

  /*Configure GPIO pin : ARD_D7_Pin */
  GPIO_InitStruct.Pin = ARD_D7_Pin;
  GPIO_InitStruct.Mode = GPIO_MODE_ANALOG_ADC_CONTROL;
  GPIO_InitStruct.Pull = GPIO_NOPULL;
  HAL_GPIO_Init(ARD_D7_GPIO_Port, &GPIO_InitStruct);

  /*Configure GPIO pins : ARD_D13_Pin ARD_D12_Pin ARD_D11_Pin */
  GPIO_InitStruct.Pin = ARD_D13_Pin|ARD_D12_Pin|ARD_D11_Pin;
  GPIO_InitStruct.Mode = GPIO_MODE_AF_PP;
  GPIO_InitStruct.Pull = GPIO_NOPULL;
  GPIO_InitStruct.Speed = GPIO_SPEED_FREQ_VERY_HIGH;
  GPIO_InitStruct.Alternate = GPIO_AF5_SPI1;
  HAL_GPIO_Init(GPIOA, &GPIO_InitStruct);

  /*Configure GPIO pin : ARD_D3_Pin */
  GPIO_InitStruct.Pin = ARD_D3_Pin;
  GPIO_InitStruct.Mode = GPIO_MODE_IT_RISING;
  GPIO_InitStruct.Pull = GPIO_NOPULL;
  HAL_GPIO_Init(ARD_D3_GPIO_Port, &GPIO_InitStruct);

  /*Configure GPIO pin : ARD_D6_Pin */
  GPIO_InitStruct.Pin = ARD_D6_Pin;
  GPIO_InitStruct.Mode = GPIO_MODE_ANALOG_ADC_CONTROL;
  GPIO_InitStruct.Pull = GPIO_NOPULL;
  HAL_GPIO_Init(ARD_D6_GPIO_Port, &GPIO_InitStruct);

  /*Configure GPIO pins : ARD_D8_Pin ISM43362_BOOT0_Pin ISM43362_WAKEUP_Pin LED2_Pin
                           SPSGRF_915_SDN_Pin ARD_D5_Pin SPSGRF_915_SPI3_CSN_Pin */
  GPIO_InitStruct.Pin = ARD_D8_Pin|ISM43362_BOOT0_Pin|ISM43362_WAKEUP_Pin|LED2_Pin
                          |SPSGRF_915_SDN_Pin|ARD_D5_Pin|SPSGRF_915_SPI3_CSN_Pin;
  GPIO_InitStruct.Mode = GPIO_MODE_OUTPUT_PP;
  GPIO_InitStruct.Pull = GPIO_NOPULL;
  GPIO_InitStruct.Speed = GPIO_SPEED_FREQ_LOW;
  HAL_GPIO_Init(GPIOB, &GPIO_InitStruct);

  /*Configure GPIO pins : LPS22HB_INT_DRDY_EXTI0_Pin LSM6DSL_INT1_EXTI11_Pin ARD_D2_Pin HTS221_DRDY_EXTI15_Pin
                           PMOD_IRQ_EXTI12_Pin */
  GPIO_InitStruct.Pin = LPS22HB_INT_DRDY_EXTI0_Pin|LSM6DSL_INT1_EXTI11_Pin|ARD_D2_Pin|HTS221_DRDY_EXTI15_Pin
                          |PMOD_IRQ_EXTI12_Pin;
  GPIO_InitStruct.Mode = GPIO_MODE_IT_RISING;
  GPIO_InitStruct.Pull = GPIO_NOPULL;
  HAL_GPIO_Init(GPIOD, &GPIO_InitStruct);

  /*Configure GPIO pins : USB_OTG_FS_PWR_EN_Pin SPBTLE_RF_SPI3_CSN_Pin PMOD_RESET_Pin STSAFE_A100_RESET_Pin */
  GPIO_InitStruct.Pin = USB_OTG_FS_PWR_EN_Pin|SPBTLE_RF_SPI3_CSN_Pin|PMOD_RESET_Pin|STSAFE_A100_RESET_Pin;
  GPIO_InitStruct.Mode = GPIO_MODE_OUTPUT_PP;
  GPIO_InitStruct.Pull = GPIO_NOPULL;
  GPIO_InitStruct.Speed = GPIO_SPEED_FREQ_LOW;
  HAL_GPIO_Init(GPIOD, &GPIO_InitStruct);

  /*Configure GPIO pins : VL53L0X_XSHUT_Pin LED3_WIFI__LED4_BLE_Pin */
  GPIO_InitStruct.Pin = VL53L0X_XSHUT_Pin|LED3_WIFI__LED4_BLE_Pin;
  GPIO_InitStruct.Mode = GPIO_MODE_OUTPUT_PP;
  GPIO_InitStruct.Pull = GPIO_NOPULL;
  GPIO_InitStruct.Speed = GPIO_SPEED_FREQ_LOW;
  HAL_GPIO_Init(GPIOC, &GPIO_InitStruct);

  /*Configure GPIO pins : VL53L0X_GPIO1_EXTI7_Pin LSM3MDL_DRDY_EXTI8_Pin */
  GPIO_InitStruct.Pin = VL53L0X_GPIO1_EXTI7_Pin|LSM3MDL_DRDY_EXTI8_Pin;
  GPIO_InitStruct.Mode = GPIO_MODE_IT_RISING;
  GPIO_InitStruct.Pull = GPIO_NOPULL;
  HAL_GPIO_Init(GPIOC, &GPIO_InitStruct);

  /*Configure GPIO pin : PMOD_SPI2_SCK_Pin */
  GPIO_InitStruct.Pin = PMOD_SPI2_SCK_Pin;
  GPIO_InitStruct.Mode = GPIO_MODE_AF_PP;
  GPIO_InitStruct.Pull = GPIO_NOPULL;
  GPIO_InitStruct.Speed = GPIO_SPEED_FREQ_VERY_HIGH;
  GPIO_InitStruct.Alternate = GPIO_AF5_SPI2;
  HAL_GPIO_Init(PMOD_SPI2_SCK_GPIO_Port, &GPIO_InitStruct);

  /*Configure GPIO pins : PMOD_UART2_CTS_Pin PMOD_UART2_RTS_Pin PMOD_UART2_TX_Pin PMOD_UART2_RX_Pin */
  GPIO_InitStruct.Pin = PMOD_UART2_CTS_Pin|PMOD_UART2_RTS_Pin|PMOD_UART2_TX_Pin|PMOD_UART2_RX_Pin;
  GPIO_InitStruct.Mode = GPIO_MODE_AF_PP;
  GPIO_InitStruct.Pull = GPIO_NOPULL;
  GPIO_InitStruct.Speed = GPIO_SPEED_FREQ_VERY_HIGH;
  GPIO_InitStruct.Alternate = GPIO_AF7_USART2;
  HAL_GPIO_Init(GPIOD, &GPIO_InitStruct);

  /*Configure GPIO pins : ARD_D15_Pin ARD_D14_Pin */
  GPIO_InitStruct.Pin = ARD_D15_Pin|ARD_D14_Pin;
  GPIO_InitStruct.Mode = GPIO_MODE_AF_OD;
  GPIO_InitStruct.Pull = GPIO_NOPULL;
  GPIO_InitStruct.Speed = GPIO_SPEED_FREQ_VERY_HIGH;
  GPIO_InitStruct.Alternate = GPIO_AF4_I2C1;
  HAL_GPIO_Init(GPIOB, &GPIO_InitStruct);

  /* EXTI interrupt init*/
  HAL_NVIC_SetPriority(EXTI9_5_IRQn, 5, 0);
  HAL_NVIC_EnableIRQ(EXTI9_5_IRQn);

  HAL_NVIC_SetPriority(EXTI15_10_IRQn, 5, 0);
  HAL_NVIC_EnableIRQ(EXTI15_10_IRQn);

}

void StartDefaultTask(void *argument)
{
  for(;;)
  {
    osDelay(1);
  }
}

void StartTask02(void *argument)
{
  /* USER CODE BEGIN StartTask02 */
  /* Infinite loop */

	osDelay(10);

	osMutexAcquire(resourceMutexHandle, osWaitForever);

	lowHasMutex = 1;

	uint32_t lowStartTime = HAL_GetTick();

	while ((HAL_GetTick() - lowStartTime) < 1000U)
	{
	  lowWorkCounter++;
	}

	lowHasMutex = 0;

	osMutexRelease(resourceMutexHandle);

	for(;;)
	{
	  osDelay(1000);
	}
  /* USER CODE END StartTask02 */
}

void StartTask03(void *argument)
{
	/* USER CODE BEGIN StartTask03 */

	osDelay(100);

	uint32_t mediumStartTime = HAL_GetTick();

	while ((HAL_GetTick() - mediumStartTime) < 2000U)
	{
	  mediumWorkCounter++;
	}

	for(;;)
	{
	  osDelay(1000);
	}

	/* USER CODE END StartTask03 */
}

void StartTask04(void *argument)
{
	/* USER CODE BEGIN StartTask04 */

	osDelay(50);

	uint32_t highStartTime = HAL_GetTick();

	osMutexAcquire(resourceMutexHandle, osWaitForever);

	highWaitTime = HAL_GetTick() - highStartTime;

	highAcquiredCount++;

	osMutexRelease(resourceMutexHandle);

	for(;;)
	{
	  osDelay(1000);
	}

  /* USER CODE END StartTask04 */
}

/* USER CODE BEGIN Header_StartSemaphoreLowTask */
/**
* @brief Function implementing the semaphore Low task.
* @param argument: Not used
* @retval None
*/
/* USER CODE END Header_StartSemaphoreLowTask */
void StartSemaphoreLowTask(void *argument)
{
  /* USER CODE BEGIN StartSemaphoreLowTask */

  osDelay(10);

  osSemaphoreAcquire(resourceSemaphoreHandle, osWaitForever);

  semaphoreLowHasSemaphore = 1;

  uint32_t semaphoreLowStartTime = HAL_GetTick();

  while ((HAL_GetTick() - semaphoreLowStartTime) < 1000U)
  {
    semaphoreLowWorkCounter++;
  }

  semaphoreLowHasSemaphore = 0;

  osSemaphoreRelease(resourceSemaphoreHandle);

  for(;;)
  {
    osDelay(1000);
  }

  /* USER CODE END StartSemaphoreLowTask */
}

/* USER CODE BEGIN Header_StartSemaphoreMediumTask */
/**
* @brief Function implementing the semaphore Medium task.
* @param argument: Not used
* @retval None
*/
/* USER CODE END Header_StartSemaphoreMediumTask */
void StartSemaphoreMediumTask(void *argument)
{
  /* USER CODE BEGIN StartSemaphoreMediumTask */

  osDelay(100);

  uint32_t semaphoreMediumStartTime = HAL_GetTick();

  while ((HAL_GetTick() - semaphoreMediumStartTime) < 2000U)
  {
    semaphoreMediumWorkCounter++;
  }

  for(;;)
  {
    osDelay(1000);
  }

  /* USER CODE END StartSemaphoreMediumTask */
}

/* USER CODE BEGIN Header_StartSemaphoreHighTask */
/**
* @brief Function implementing the semaphore High task.
* @param argument: Not used
* @retval None
*/
/* USER CODE END Header_StartSemaphoreHighTask */
void StartSemaphoreHighTask(void *argument)
{
  /* USER CODE BEGIN StartSemaphoreHighTask */

  osDelay(50);

  uint32_t semaphoreHighStartTime = HAL_GetTick();

  osSemaphoreAcquire(resourceSemaphoreHandle, osWaitForever);

  semaphoreHighWaitTime = HAL_GetTick() - semaphoreHighStartTime;

  semaphoreHighAcquiredCount++;

  osSemaphoreRelease(resourceSemaphoreHandle);

  for(;;)
  {
    osDelay(1000);
  }

  /* USER CODE END StartSemaphoreHighTask */
}

void Error_Handler(void)
{
  __disable_irq();
  while (1)
  {
  }
}
